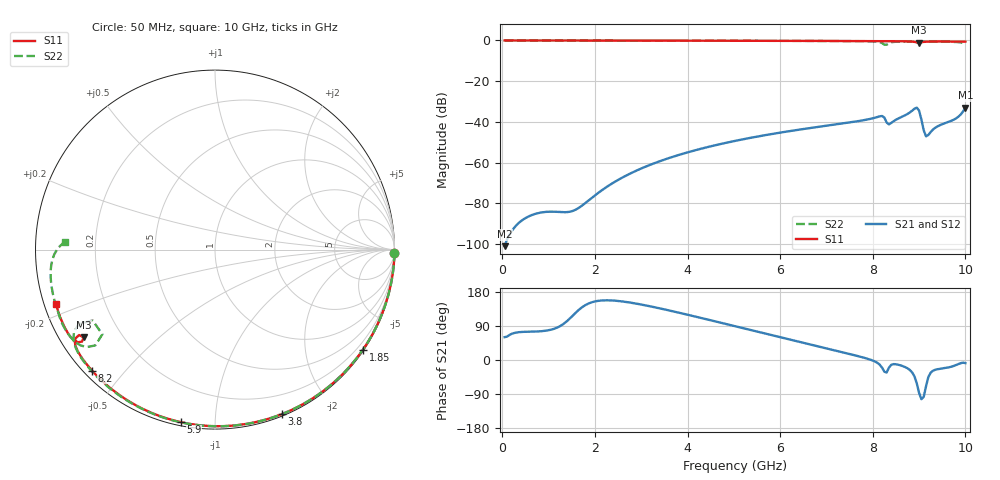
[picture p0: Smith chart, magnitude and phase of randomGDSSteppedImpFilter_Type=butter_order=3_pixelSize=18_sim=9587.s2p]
! freq	dB(S11)	phase(S11)	dB(S12)	phase(S12)
!  dB(S21)	phase(S21)	dB(S22)	phase(S22)
!S-par simulation data
#  GHz  S  DB  R 50
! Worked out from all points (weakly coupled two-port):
!   200 points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, 50 MHz to 10 GHz, reference 50 ohm
!   highest |S21| = -32.96 dB at 10 GHz (marker M1); lowest = -101.0 dB at 50 MHz (marker M2)
!   lowest |S11| = -1.1 dB at 9 GHz (marker M3), VSWR 15.64, Z = 3.49 - j15.1 ohm
!   |S11| at or under -10 dB: nowhere
!   |S22| runs from -2.1 to 0.0 dB; largest |S21 - S12| = 0
!   S11 on the Smith chart (normalised r, x): 50 MHz: open; 1.85 GHz: 0.03, -3.26; 3.8 GHz: 0.02, -1.49; 5.9 GHz: 0.02, -0.82; 8.2 GHz: 0.02, -0.41; 10 GHz: 0.03, -0.17
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0.05  -0.00 -0.9  -101.02 60.4  -101.02 60.4  -0.00 -1.0
1.75  -0.04 -32.3  -80.62 141.5  -80.62 141.5  -0.04 -34.2
1.85  -0.04 -34.1  -78.82 148.4  -78.82 148.4  -0.05 -36.1
2.55  -0.06 -46.5  -67.85 155.2  -67.85 155.2  -0.06 -49.3
3.4  -0.08 -61.1  -59.30 136.3  -59.30 136.3  -0.09 -64.8
3.8  -0.09 -67.9  -56.30 125.2  -56.30 125.2  -0.10 -72.0
5.05  -0.14 -88.1  -49.21 88.5  -49.21 88.5  -0.14 -93.5
5.9  -0.18 -101.2  -45.64 63.1  -45.64 63.1  -0.19 -107.7
6.7  -0.22 -113.2  -42.83 39.5  -42.83 39.5  -0.24 -120.9
7.8  -0.30 -129.5  -39.17 6.4  -39.17 6.4  -0.35 -140.0
8.2  -0.34 -135.4  -37.09 -20.0  -37.09 -20.0  -1.27 -151.4
8.25  -0.35 -136.2  -37.85 -31.0  -37.85 -31.0  -2.07 -149.9
8.3  -0.36 -137.0  -40.30 -33.0  -40.30 -33.0  -2.10 -143.1
8.35  -0.36 -137.7  -41.23 -19.9  -41.23 -19.9  -1.37 -141.3
8.55  -0.39 -140.9  -38.33 -12.5  -38.33 -12.5  -0.57 -147.4
8.95  -0.97 -147.8  -33.00 -61.5  -33.00 -61.5  -0.50 -156.3
9  -1.11 -146.3  -34.45 -86.9  -34.45 -86.9  -0.52 -157.2
9.1  -0.71 -145.9  -44.11 -97.3  -44.11 -97.3  -0.54 -159.0
9.15  -0.61 -147.0  -47.09 -69.1  -47.09 -69.1  -0.54 -160.0
9.4  -0.51 -151.5  -42.17 -24.3  -42.17 -24.3  -0.57 -164.9
9.85  -0.55 -158.7  -37.42 -10.7  -37.42 -10.7  -0.84 -176.4
10  -0.57 -161.0  -32.96 -8.2  -32.96 -8.2  -1.53 177.0
